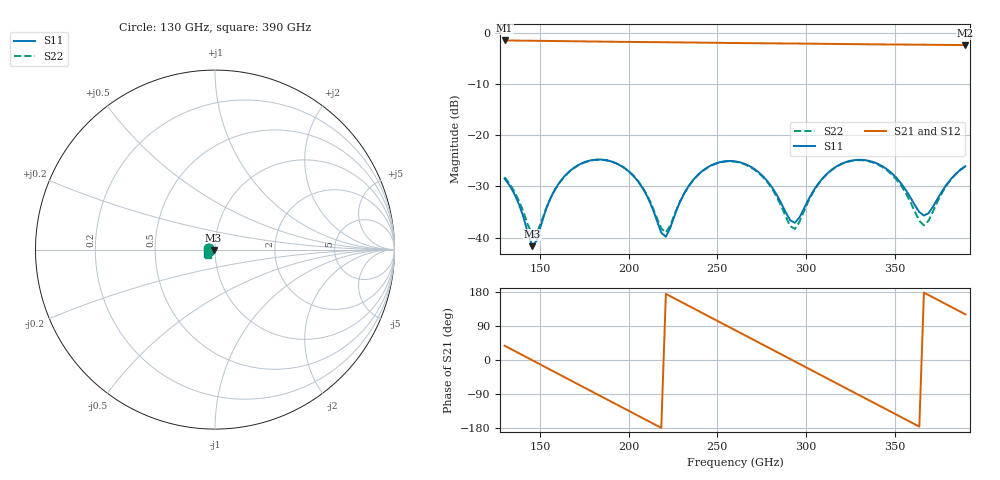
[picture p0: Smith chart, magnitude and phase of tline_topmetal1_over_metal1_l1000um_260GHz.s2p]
#  GHZ S DB R 50
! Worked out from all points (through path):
!   101 points, 130 GHz to 390 GHz, reference 50 ohm
!   highest |S21| = -1.51 dB at 130 GHz (marker M1); lowest = -2.4 dB at 390 GHz (marker M2)
!   group delay of S21, straight-line fit = 6.81 ps
!   lowest |S11| = -41.7 dB at 145.6 GHz (marker M3), VSWR 1.02, Z = 49.2 - j0.162 ohm
!   |S11| at or under -10 dB: start of sweep to end of sweep
!   |S22| runs from -39.5 to -24.8 dB; largest |S21 - S12| = 9.5e-14
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130  -28.50 162.7  -1.51 37.6  -1.51 37.6  -28.21 165.0
137.8  -33.23 153.2  -1.54 18.5  -1.54 18.5  -32.60 157.0
145.6  -41.69 -168.5  -1.56 -0.6  -1.56 -0.6  -39.50 -171.2
158.6  -30.50 -113.8  -1.62 -32.6  -1.62 -32.6  -30.56 -118.3
174.2  -25.40 -142.7  -1.69 -70.9  -1.69 -70.9  -25.46 -144.6
187.2  -24.88 -170.4  -1.74 -102.7  -1.74 -102.7  -24.90 -171.3
200.2  -27.13 163.7  -1.79 -134.5  -1.79 -134.5  -27.09 163.6
210.6  -32.06 150.6  -1.83 -160.0  -1.83 -160.0  -31.85 151.6
218.4  -39.06 173.6  -1.85 -179.1  -1.85 -179.1  -38.23 173.5
221  -39.86 -158.9  -1.86 174.5  -1.86 174.5  -39.02 -162.3
231.4  -31.33 -122.2  -1.89 149.0  -1.89 149.0  -31.33 -125.4
241.8  -26.93 -136.4  -1.94 123.4  -1.94 123.4  -26.98 -138.5
260  -25.12 -171.5  -2.01 78.9  -2.01 78.9  -25.19 -173.4
278.2  -28.94 158.3  -2.06 34.3  -2.06 34.3  -29.16 155.5
293.8  -37.12 -163.5  -2.11 -3.9  -2.11 -3.9  -38.32 -161.8
304.2  -30.89 -130.7  -2.14 -29.4  -2.14 -29.4  -31.08 -127.5
317.2  -26.13 -145.6  -2.19 -61.3  -2.19 -61.3  -26.19 -144.3
327.6  -24.87 -164.2  -2.23 -86.7  -2.23 -86.7  -24.93 -163.7
348.4  -27.41 160.7  -2.29 -137.6  -2.29 -137.6  -27.66 159.1
366.6  -35.71 -173.0  -2.34 177.8  -2.34 177.8  -37.62 -168.9
377  -30.87 -138.0  -2.37 152.3  -2.37 152.3  -31.15 -129.8
390  -26.08 -149.5  -2.42 120.5  -2.42 120.5  -26.06 -144.4
